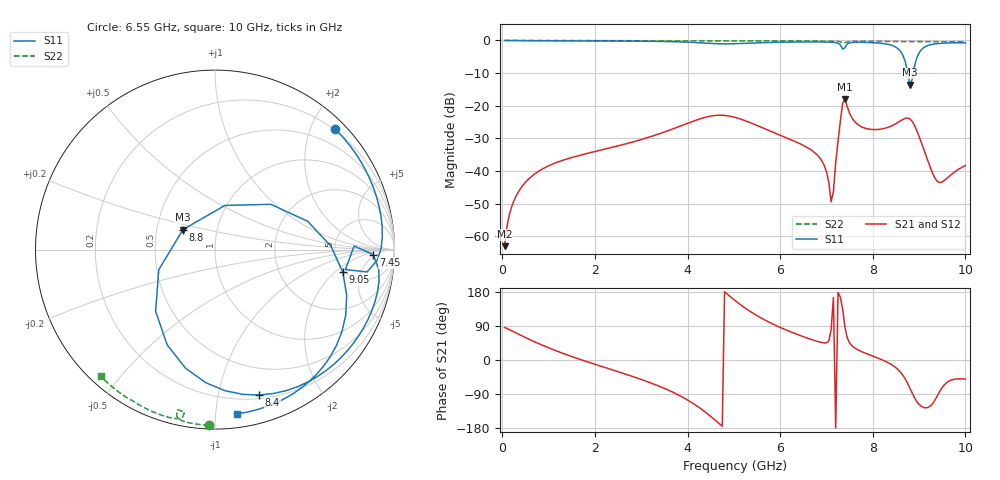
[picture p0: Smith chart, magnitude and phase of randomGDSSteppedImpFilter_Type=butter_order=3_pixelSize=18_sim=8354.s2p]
! freq	dB(S11)	phase(S11)	dB(S12)	phase(S12)
!  dB(S21)	phase(S21)	dB(S22)	phase(S22)
!S-par simulation data
#  GHz  S  DB  R 50
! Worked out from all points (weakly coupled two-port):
!   200 points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, 50 MHz to 10 GHz, reference 50 ohm
!   highest |S21| = -18.04 dB at 7.4 GHz (marker M1); lowest = -63.0 dB at 50 MHz (marker M2)
!   lowest |S11| = -13.5 dB at 8.8 GHz (marker M3), VSWR 1.53, Z = 34.1 + j7.94 ohm
!   |S11| at or under -10 dB: 8.755 GHz to 8.875 GHz (119 MHz wide, 1.35 % of centre)
!   |S22| runs from -0.8 to 0.0 dB; largest |S21 - S12| = 0
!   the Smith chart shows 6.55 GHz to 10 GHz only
!   S11 on the Smith chart (normalised r, x): 6.55 GHz: 0.18, +2.41; 7.45 GHz: 15, -4; 8.4 GHz: 0.23, -1.32; 8.8 GHz: 0.68, +0.16; 9.05 GHz: 4.85, -2.52; 10 GHz: 0.09, -1.14
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0.05  -0.00 -5.6  -63.01 86.0  -63.01 86.0  -0.00 -0.8
0.25  -0.04 -27.4  -49.14 74.2  -49.14 74.2  -0.01 -3.8
0.8  -0.10 -82.6  -39.93 42.5  -39.93 42.5  -0.02 -12.2
1.75  -0.14 -157.6  -34.90 -1.3  -34.90 -1.3  -0.03 -26.4
2.55  -0.18 149.5  -32.11 -32.8  -32.11 -32.8  -0.05 -38.2
3.4  -0.29 88.0  -28.54 -69.7  -28.54 -69.7  -0.07 -50.3
4.25  -0.70 -7.5  -24.11 -125.3  -24.11 -125.3  -0.11 -62.1
4.65  -1.00 -78.7  -22.91 -164.2  -22.91 -164.2  -0.13 -67.5
5.05  -0.99 -154.8  -23.65 154.7  -23.65 154.7  -0.13 -72.7
5.75  -0.62 111.2  -27.52 100.5  -27.52 100.5  -0.15 -81.8
6.55  -0.46 45.0  -32.53 59.3  -32.53 59.3  -0.18 -92.0
6.7  -0.45 34.7  -33.86 53.0  -33.86 53.0  -0.19 -94.0
7.1  -0.53 8.0  -49.42 79.2  -49.42 79.2  -0.22 -99.3
7.4  -2.21 1.5  -18.04 85.8  -18.04 85.8  -0.72 -100.6
7.45  -1.09 -1.9  -20.33 58.0  -20.33 58.0  -0.45 -100.9
8.35  -1.26 -67.9  -26.49 -8.3  -26.49 -8.3  -0.30 -113.2
8.4  -1.45 -73.1  -26.20 -11.8  -26.20 -11.8  -0.31 -113.8
8.6  -3.34 -104.0  -24.61 -32.4  -24.61 -32.4  -0.33 -116.1
8.8  -13.54 148.1  -24.02 -74.2  -24.02 -74.2  -0.36 -118.4
9.05  -2.82 -9.9  -31.30 -122.4  -31.30 -122.4  -0.36 -121.2
9.4  -0.95 -51.1  -43.26 -93.4  -43.26 -93.4  -0.39 -125.3
10  -0.70 -82.5  -38.31 -50.3  -38.31 -50.3  -0.45 -132.2
